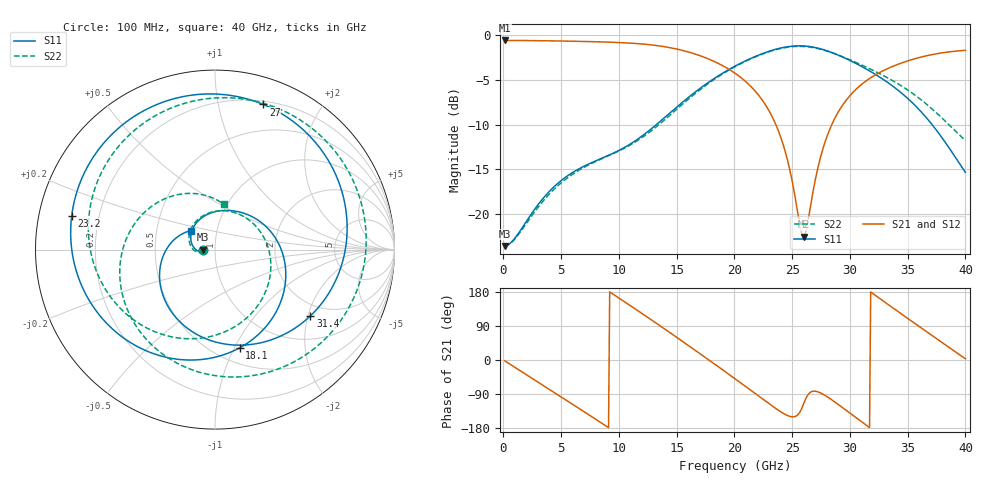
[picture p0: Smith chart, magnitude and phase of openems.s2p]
! B_ts6_L1L3_stub: ThunderScope stack: L1→In2, through via (stub to B.Cu)
! stackup: ThunderScope Rev5.3 6-layer (FR408HR / FR-4, from the board file)
! ports: 1, 2
! openEMS 0.37.0, staircase, fine mesh (dfine 0.0175 mm), 1110795 cells
# Hz S RI R 50
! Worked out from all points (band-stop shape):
!   400 points, 100 MHz to 40 GHz, reference 50 ohm
!   highest |S21| = -0.60 dB at 100 MHz (marker M1); lowest = -22.5 dB at 26 GHz (marker M2)
!   |S21| within 3 dB of the highest: start of sweep to 19.24 GHz; 33.51 GHz to end of sweep
!   lowest |S11| = -23.6 dB at 100 MHz (marker M3), VSWR 1.14, Z = 43.8 - j0.0896 ohm
!   |S11| at or under -10 dB: start of sweep to 13.24 GHz; 37.12 GHz to end of sweep
!   |S22| runs from -23.6 to -1.3 dB; largest |S21 - S12| = 0.0043
!   S11 on the Smith chart (normalised r, x): 100 MHz: 0.88, -0.00; 18.1 GHz: 0.65, -1.05; 23.2 GHz: 0.10, +0.11; 27 GHz: 0.23, +1.36; 31.4 GHz: 1.64, -2.08; 40 GHz: 0.75, +0.16
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1e8  -0.0663 -0.00102  0.9331 -0.0317  0.9331 -0.0318  -0.0663 -0.00122
1.8e9  -0.0868 -0.0098  0.7632 -0.5361  0.7632 -0.5361  -0.0839 -0.0156
3.7e9  -0.1259 0.0245  0.285 -0.885  0.285 -0.8851  -0.1239 0.00299
6.8e9  -0.1001 0.1531  -0.6273 -0.6757  -0.6274 -0.6758  -0.1279 0.1267
8.4e9  -0.0298 0.2015  -0.8833 -0.2448  -0.8834 -0.2448  -0.0557 0.1946
9.9e9  0.0557 0.2184  -0.8806 0.2279  -0.8807 0.2279  0.0598 0.2158
1.18e10  0.1842 0.1939  -0.5363 0.7159  -0.5366 0.7161  0.2277 0.1306
1.34e10  0.3042 0.1077  -0.0552 0.8703  -0.0552 0.871  0.3094 -0.0536
1.6e10  0.3845 -0.2298  0.6303 0.5015  0.6316 0.5012  0.1263 -0.4193
1.81e10  0.1374 -0.5473  0.7147 -0.0849  0.7143 -0.0865  -0.2974 -0.4712
2.01e10  -0.3436 -0.5793  0.387 -0.4709  0.3853 -0.4702  -0.6556 -0.1332
2.17e10  -0.6975 -0.2885  0.0315 -0.4939  0.0317 -0.492  -0.6701 0.3384
2.32e10  -0.7986 0.1871  -0.1782 -0.3095  -0.1765 -0.3091  -0.3451 0.7387
2.46e10  -0.58 0.6369  -0.1668 -0.1104  -0.1661 -0.1113  0.1955 0.8329
2.6e10  -0.1052 0.8634  -0.0318 -0.0679  -0.0315 -0.0684  0.6954 0.5126
2.67e10  0.1614 0.8442  0.0143 -0.1213  0.0151 -0.122  0.8217 0.2333
2.7e10  0.2691 0.8086  0.0206 -0.1539  0.0214 -0.1549  0.8409 0.1042
2.92e10  0.7284 0.2261  -0.2078 -0.3317  -0.2104 -0.3336  0.4382 -0.6264
3.14e10  0.532 -0.3688  -0.5487 -0.0805  -0.5507 -0.0767  -0.2313 -0.6216
3.34e10  0.085 -0.5299  -0.5334 0.3819  -0.5299 0.3839  -0.5184 -0.2394
3.66e10  -0.3087 -0.1584  0.1915 0.7415  0.1905 0.7387  -0.3176 0.2642
4e10  -0.1344 0.1059  0.8211 0.0464  0.8205 0.0484  0.0485 0.253
